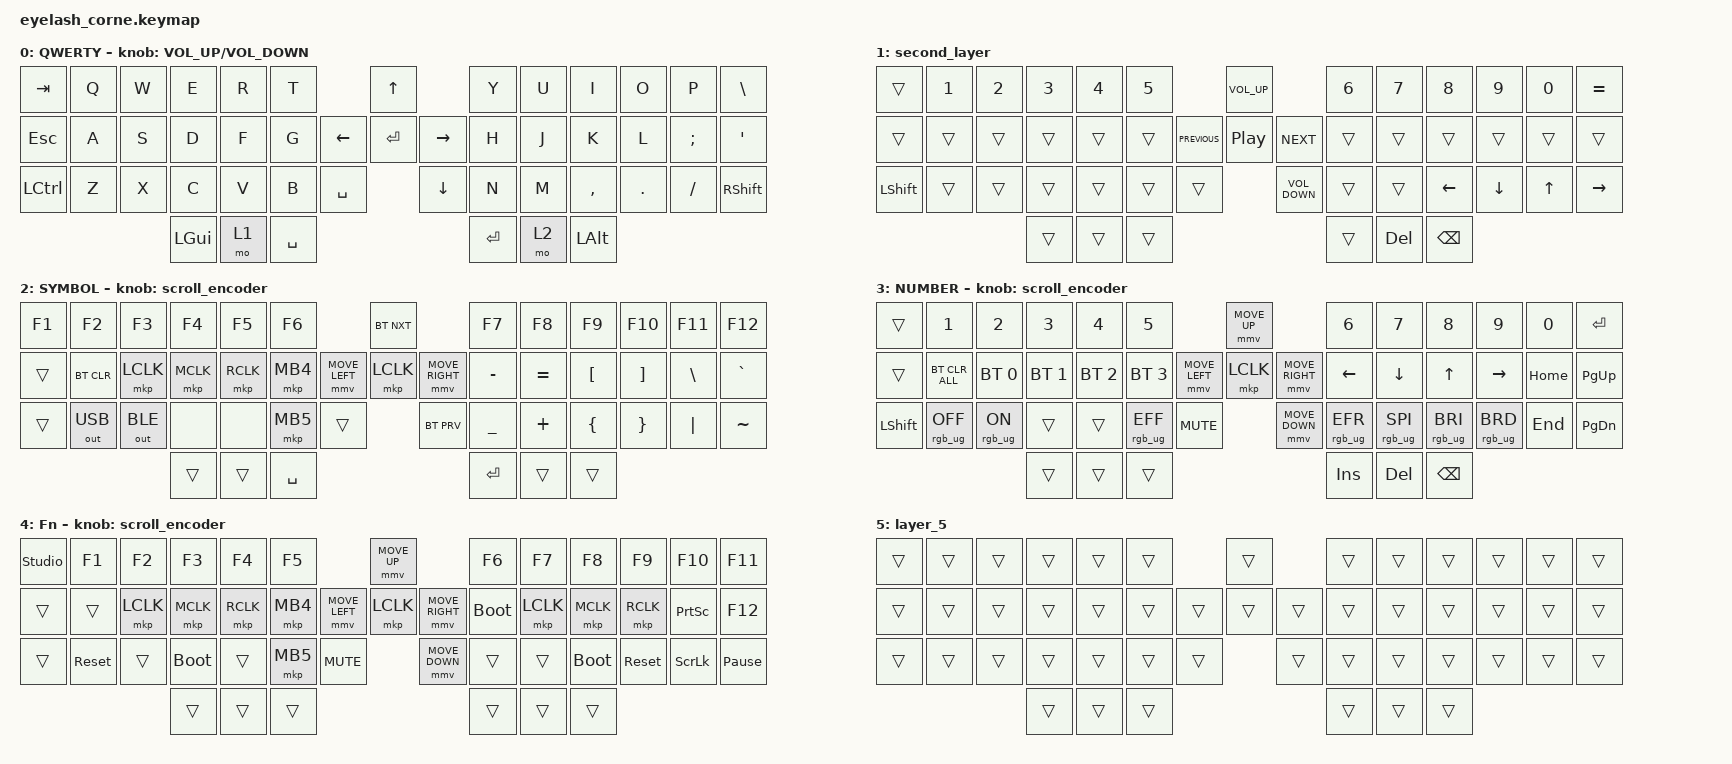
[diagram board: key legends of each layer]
#define ZMK_POINTING_DEFAULT_MOVE_VAL 1200  // 600
#define ZMK_POINTING_DEFAULT_SCRL_VAL 25   // 10

#include <input/processors.dtsi>
#include <zephyr/dt-bindings/input/input-event-codes.h>
#include <behaviors.dtsi>
#include <dt-bindings/zmk/bt.h>
#include <dt-bindings/zmk/keys.h>
#include <dt-bindings/zmk/outputs.h>
#include <dt-bindings/zmk/pointing.h>
#include <dt-bindings/zmk/rgb.h>

&mmv_input_listener { input-processors = <&zip_xy_scaler 2 1>; };

&msc_input_listener { input-processors = <&zip_scroll_scaler 2 1>; };

&msc {
    acceleration-exponent = <1>;      // 0
    time-to-max-speed-ms = <100>;       // 300
    delay-ms = <0>;                   // 0
};

&mmv {
    time-to-max-speed-ms = <500>;
    acceleration-exponent = <1>;
    trigger-period-ms = <16>;
};

/ {
    behaviors {
        td0: td0 {
            compatible = "zmk,behavior-tap-dance";
            display-name = "Shift/Caps Lock Tap Dance";
            #binding-cells = <0>;
            bindings = <&kp LEFT_SHIFT>, <&kp CAPS>;
        };
    };

    rgb_encoder: rgb_encoder {
        compatible = "zmk,behavior-sensor-rotate";
        #sensor-binding-cells = <0>;
        bindings = <&rgb_ug RGB_BRI>, <&rgb_ug RGB_BRD>;
    };

    scroll_encoder: scroll_encoder {
        compatible = "zmk,behavior-sensor-rotate";
        #sensor-binding-cells = <0>;
        bindings = <&msc SCRL_DOWN>, <&msc SCRL_UP>;

        tap-ms = <100>;
    };

    combos {
        compatible = "zmk,combos";

        cycle_back {
            bindings = <&kp LS(LC(TAB))>;
            key-positions = <28 13 0>;
        };
    };

    keymap {
        compatible = "zmk,keymap";

        default_layer {
            display-name = "QWERTY";
            bindings = <
&kp TAB    &kp Q  &kp W  &kp E     &kp R  &kp T                             &kp UP                &kp Y    &kp U  &kp I         &kp O    &kp P     &kp BACKSLASH
&kp ESC    &kp A  &kp S  &kp D     &kp F  &kp G                   &kp LEFT  &kp ENTER  &kp RIGHT  &kp H    &kp J  &kp K         &kp L    &kp SEMI  &kp SQT
&kp LCTRL  &kp Z  &kp X  &kp C     &kp V  &kp B      &kp SPACE              &kp DOWN              &kp N    &kp M  &kp COMMA     &kp DOT  &kp FSLH  &kp RIGHT_SHIFT
                         &kp LGUI  &mo 1  &kp SPACE                                               &kp RET  &mo 2  &kp LEFT_ALT
            >;

            sensor-bindings = <&inc_dec_kp C_VOLUME_UP C_VOLUME_DOWN>;
        };

        second_layer {
            bindings = <
&trans          &kp N1  &kp N2  &kp N3  &kp N4  &kp N5                            &kp C_VOLUME_UP                &kp N6  &kp N7   &kp N8         &kp N9    &kp N0  &kp EQUAL
&trans          &trans  &trans  &trans  &trans  &trans            &kp C_PREVIOUS  &kp C_PLAY_PAUSE   &kp C_NEXT  &trans  &trans   &trans         &trans    &trans  &trans
&kp LEFT_SHIFT  &trans  &trans  &trans  &trans  &trans  &trans                    &kp C_VOLUME_DOWN              &trans  &trans   &kp LEFT       &kp DOWN  &kp UP  &kp RIGHT
                                &trans  &trans  &trans                                                           &trans  &kp DEL  &kp BACKSPACE
            >;
        };

        raise_layer {
            display-name = "SYMBOL";
            bindings = <
&kp F1  &kp F2        &kp F3        &kp F4     &kp F5     &kp F6                               &bt BT_NXT                   &kp F7     &kp F8     &kp F9    &kp F10   &kp F11   &kp F12
&trans  &bt BT_CLR    &mkp LCLK     &mkp MCLK  &mkp RCLK  &mkp MB4             &mmv MOVE_LEFT  &mkp LCLK   &mmv MOVE_RIGHT  &kp MINUS  &kp EQUAL  &kp LBKT  &kp RBKT  &kp BSLH  &kp GRAVE
&trans  &out OUT_USB  &out OUT_BLE  &none      &none      &mkp MB5   &trans                    &bt BT_PRV                   &kp UNDER  &kp PLUS   &kp LBRC  &kp RBRC  &kp PIPE  &kp TILDE
                                    &trans     &trans     &kp SPACE                                                         &kp RET    &trans     &trans
            >;

            sensor-bindings = <&scroll_encoder>;
        };

        lower_layer {
            display-name = "NUMBER";
            bindings = <
&trans          &kp N1           &kp N2          &kp N3        &kp N4        &kp N5                                         &mmv MOVE_UP                     &kp N6           &kp N7           &kp N8           &kp N9           &kp N0    &kp ENTER
&trans          &bt BT_CLR_ALL   &bt BT_SEL 0    &bt BT_SEL 1  &bt BT_SEL 2  &bt BT_SEL 3                   &mmv MOVE_LEFT  &mkp LCLK       &mmv MOVE_RIGHT  &kp LEFT         &kp DOWN         &kp UP           &kp RIGHT        &kp HOME  &kp PG_UP
&kp LEFT_SHIFT  &rgb_ug RGB_OFF  &rgb_ug RGB_ON  &trans        &trans        &rgb_ug RGB_EFF  &kp C_MUTE                    &mmv MOVE_DOWN                   &rgb_ug RGB_EFR  &rgb_ug RGB_SPI  &rgb_ug RGB_BRI  &rgb_ug RGB_BRD  &kp END   &kp PG_DN
                                                 &trans        &trans        &trans                                                                          &kp INS          &kp DEL          &kp BACKSPACE
            >;

            sensor-bindings = <&scroll_encoder>;
        };

        layer_3 {
            display-name = "Fn";
            bindings = <
&studio_unlock  &kp F1      &kp F2     &kp F3       &kp F4     &kp F5                                  &mmv MOVE_UP                     &kp F6       &kp F7     &kp F8       &kp F9      &kp F10          &kp F11
&trans          &trans      &mkp LCLK  &mkp MCLK    &mkp RCLK  &mkp MB4                &mmv MOVE_LEFT  &mkp LCLK       &mmv MOVE_RIGHT  &bootloader  &mkp LCLK  &mkp MCLK    &mkp RCLK   &kp PRINTSCREEN  &kp F12
&trans          &sys_reset  &trans     &bootloader  &trans     &mkp MB5  &kp C_MUTE                    &mmv MOVE_DOWN                   &trans       &trans     &bootloader  &sys_reset  &kp SCROLLLOCK   &kp PAUSE_BREAK
                                       &trans       &trans     &trans                                                                   &trans       &trans     &trans
            >;

            sensor-bindings = <&scroll_encoder>;
        };

        layer_5 {
            bindings = <
&trans  &trans  &trans  &trans  &trans  &trans                    &trans          &trans  &trans  &trans  &trans  &trans  &trans
&trans  &trans  &trans  &trans  &trans  &trans            &trans  &trans  &trans  &trans  &trans  &trans  &trans  &trans  &trans
&trans  &trans  &trans  &trans  &trans  &trans  &trans            &trans          &trans  &trans  &trans  &trans  &trans  &trans
                        &trans  &trans  &trans                                    &trans  &trans  &trans
            >;
        };
    };
};
